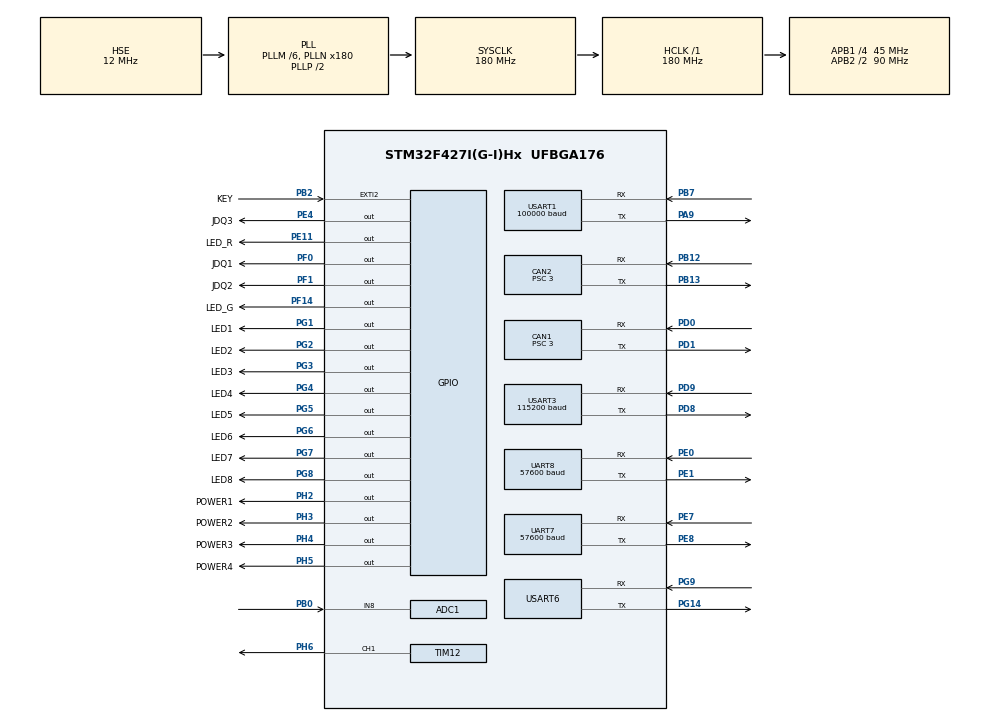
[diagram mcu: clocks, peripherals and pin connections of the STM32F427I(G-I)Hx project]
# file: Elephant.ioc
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ADC1.Channel-0\#ChannelRegularConversion=ADC_CHANNEL_8
ADC1.NbrOfConversionFlag=1
ADC1.Rank-0\#ChannelRegularConversion=1
ADC1.SamplingTime-0\#ChannelRegularConversion=ADC_SAMPLETIME_3CYCLES
ADC1.master=1
CAN1.BS1=CAN_BS1_11TQ
CAN1.BS2=CAN_BS2_3TQ
CAN1.CalculateBaudRate=1000000
CAN1.CalculateTimeBit=1000
CAN1.CalculateTimeQuantum=66.66666666666666
CAN1.NART=ENABLE
CAN1.Prescaler=3
CAN2.BS1=CAN_BS1_11TQ
CAN2.BS2=CAN_BS2_3TQ
CAN2.CalculateBaudRate=1000000
CAN2.CalculateTimeBit=1000
CAN2.CalculateTimeQuantum=66.66666666666666
CAN2.Prescaler=3
Dma.Request0=USART6_RX
Dma.Request1=USART1_RX
Dma.USART1_RX.1.Direction=DMA_PERIPH_TO_MEMORY
Dma.USART1_RX.1.FIFOMode=DMA_FIFOMODE_DISABLE
Dma.USART1_RX.1.Instance=DMA2_Stream2
Dma.USART1_RX.1.MemDataAlignment=DMA_MDATAALIGN_BYTE
Dma.USART1_RX.1.MemInc=DMA_MINC_ENABLE
Dma.USART1_RX.1.Mode=DMA_NORMAL
Dma.USART1_RX.1.PeriphDataAlignment=DMA_PDATAALIGN_BYTE
Dma.USART1_RX.1.PeriphInc=DMA_PINC_DISABLE
Dma.USART1_RX.1.Priority=DMA_PRIORITY_LOW
Dma.USART6_RX.0.Direction=DMA_PERIPH_TO_MEMORY
Dma.USART6_RX.0.FIFOMode=DMA_FIFOMODE_DISABLE
Dma.USART6_RX.0.Instance=DMA2_Stream1
Dma.USART6_RX.0.MemDataAlignment=DMA_MDATAALIGN_BYTE
Dma.USART6_RX.0.MemInc=DMA_MINC_ENABLE
Dma.USART6_RX.0.Mode=DMA_NORMAL
Dma.USART6_RX.0.PeriphDataAlignment=DMA_PDATAALIGN_BYTE
Dma.USART6_RX.0.PeriphInc=DMA_PINC_DISABLE
Dma.USART6_RX.0.Priority=DMA_PRIORITY_LOW
Mcu.Family=STM32F4
Mcu.Name=STM32F427I(G-I)Hx
Mcu.Package=UFBGA176
NVIC.CAN1_RX0_IRQn=true\:0\:0\:false\:false\:true\:true\:true\:true
NVIC.DMA2_Stream1_IRQn=true\:0\:0\:false\:false\:true\:false\:true\:true
NVIC.DMA2_Stream2_IRQn=true\:0\:0\:false\:false\:true\:false\:true\:true
NVIC.PriorityGroup=NVIC_PRIORITYGROUP_4
NVIC.TIM2_IRQn=true\:7\:0\:true\:false\:true\:true\:true\:true
NVIC.TIM3_IRQn=true\:8\:0\:true\:false\:true\:true\:true\:true
NVIC.TIM7_IRQn=true\:11\:0\:true\:false\:true\:true\:true\:true
NVIC.UART7_IRQn=true\:0\:0\:false\:false\:true\:true\:true\:true
NVIC.UART8_IRQn=true\:0\:0\:false\:false\:true\:true\:true\:true
NVIC.USART1_IRQn=true\:2\:0\:true\:false\:true\:true\:true\:true
NVIC.USART3_IRQn=true\:3\:0\:true\:false\:true\:true\:true\:true
NVIC.USART6_IRQn=true\:1\:0\:true\:false\:true\:true\:true\:true
PA13.Mode=Serial_Wire
PA13.Signal=SYS_JTMS-SWDIO
PA14.Mode=Serial_Wire
PA14.Signal=SYS_JTCK-SWCLK
PA9.Mode=Asynchronous
PA9.Signal=USART1_TX
PB0.Signal=ADCx_IN8
PB12.Mode=CAN_Activate
PB12.Signal=CAN2_RX
PB13.Mode=CAN_Activate
PB13.Signal=CAN2_TX
PB2/BOOT1.GPIO_Label=KEY
PB2/BOOT1.GPIO_ModeDefaultEXTI=GPIO_MODE_IT_FALLING
PB2/BOOT1.GPIO_PuPd=GPIO_PULLUP
PB2/BOOT1.Signal=GPXTI2
PB7.Mode=Asynchronous
PB7.Signal=USART1_RX
PD0.Mode=CAN_Activate
PD0.Signal=CAN1_RX
PD1.Mode=CAN_Activate
PD1.Signal=CAN1_TX
PD8.Mode=Asynchronous
PD8.Signal=USART3_TX
PD9.Mode=Asynchronous
PD9.Signal=USART3_RX
PE0.Mode=Asynchronous
PE0.Signal=UART8_RX
PE1.Mode=Asynchronous
PE1.Signal=UART8_TX
PE11.GPIO_Label=LED_R
PE11.GPIO_PuPd=GPIO_PULLUP
PE11.PinState=GPIO_PIN_SET
PE11.Signal=GPIO_Output
PE4.GPIO_Label=JDQ3
PE4.Signal=GPIO_Output
PE7.Mode=Asynchronous
PE7.Signal=UART7_RX
PE8.Mode=Asynchronous
PE8.Signal=UART7_TX
PF0.GPIO_Label=JDQ1
PF0.Signal=GPIO_Output
PF1.GPIO_Label=JDQ2
PF1.Signal=GPIO_Output
PF14.GPIO_Label=LED_G
PF14.GPIO_PuPd=GPIO_PULLUP
PF14.PinState=GPIO_PIN_SET
PF14.Signal=GPIO_Output
PG1.GPIO_Label=LED1
PG1.GPIO_PuPd=GPIO_PULLUP
PG1.PinState=GPIO_PIN_SET
PG1.Signal=GPIO_Output
PG14.Mode=Asynchronous
PG14.Signal=USART6_TX
PG2.GPIO_Label=LED2
PG2.GPIO_PuPd=GPIO_PULLUP
PG2.PinState=GPIO_PIN_SET
PG2.Signal=GPIO_Output
PG3.GPIO_Label=LED3
PG3.GPIO_PuPd=GPIO_PULLUP
PG3.PinState=GPIO_PIN_SET
PG3.Signal=GPIO_Output
PG4.GPIO_Label=LED4
PG4.GPIO_PuPd=GPIO_PULLUP
PG4.PinState=GPIO_PIN_SET
PG4.Signal=GPIO_Output
PG5.GPIO_Label=LED5
PG5.GPIO_PuPd=GPIO_PULLUP
PG5.PinState=GPIO_PIN_SET
PG5.Signal=GPIO_Output
PG6.GPIO_Label=LED6
PG6.GPIO_PuPd=GPIO_PULLUP
PG6.PinState=GPIO_PIN_SET
PG6.Signal=GPIO_Output
PG7.GPIO_Label=LED7
PG7.GPIO_PuPd=GPIO_PULLUP
PG7.PinState=GPIO_PIN_SET
PG7.Signal=GPIO_Output
PG8.GPIO_Label=LED8
PG8.GPIO_PuPd=GPIO_PULLUP
PG8.PinState=GPIO_PIN_SET
PG8.Signal=GPIO_Output
PG9.Mode=Asynchronous
PG9.Signal=USART6_RX
PH0/OSC_IN.Mode=HSE-External-Oscillator
PH0/OSC_IN.Signal=RCC_OSC_IN
PH1/OSC_OUT.Mode=HSE-External-Oscillator
PH1/OSC_OUT.Signal=RCC_OSC_OUT
PH2.GPIO_Label=POWER1
PH2.GPIO_PuPd=GPIO_PULLUP
PH2.Signal=GPIO_Output
PH3.GPIO_Label=POWER2
PH3.GPIO_PuPd=GPIO_PULLUP
PH3.Signal=GPIO_Output
PH4.GPIO_Label=POWER3
PH4.GPIO_PuPd=GPIO_PULLUP
PH4.Signal=GPIO_Output
PH5.GPIO_Label=POWER4
PH5.GPIO_PuPd=GPIO_PULLUP
PH5.Signal=GPIO_Output
PH6.Signal=S_TIM12_CH1
ProjectManager.HeapSize=0x200
ProjectManager.StackSize=0x400
ProjectManager.TargetToolchain=Makefile
RCC.48MHZClocksFreq_Value=90000000
RCC.AHBFreq_Value=180000000
RCC.APB1CLKDivider=RCC_HCLK_DIV4
RCC.APB1Freq_Value=45000000
RCC.APB1TimFreq_Value=90000000
RCC.APB2CLKDivider=RCC_HCLK_DIV2
RCC.APB2Freq_Value=90000000
RCC.APB2TimFreq_Value=180000000
RCC.CortexFreq_Value=180000000
RCC.HCLKFreq_Value=180000000
RCC.HSE_VALUE=12000000
RCC.HSI_VALUE=16000000
RCC.LSE_VALUE=32768
RCC.PLLM=6
RCC.PLLN=180
RCC.PLLSourceVirtual=RCC_PLLSOURCE_HSE
RCC.SYSCLKFreq_VALUE=180000000
RCC.SYSCLKSource=RCC_SYSCLKSOURCE_PLLCLK
RCC.VCOOutputFreq_Value=360000000
SH.ADCx_IN8.0=ADC1_IN8,IN8
SH.S_TIM12_CH1.0=TIM12_CH1,PWM Generation1 CH1
TIM12.Channel-PWM\ Generation1\ CH1=TIM_CHANNEL_1
TIM12.Period=99
TIM12.Prescaler=45
TIM2.Period=49999
TIM2.Prescaler=899
TIM3.Period=999
TIM3.Prescaler=89
TIM7.Period=999
TIM7.Prescaler=89
UART7.BaudRate=57600
UART7.VirtualMode=Asynchronous
UART8.BaudRate=57600
UART8.VirtualMode=Asynchronous
USART1.BaudRate=100000
USART1.VirtualMode=VM_ASYNC
USART1.WordLength=WORDLENGTH_9B
USART3.BaudRate=115200
USART3.VirtualMode=VM_ASYNC
USART6.VirtualMode=VM_ASYNC
VP_TIM2_VS_ClockSourceINT.Mode=Internal
VP_TIM3_VS_ClockSourceINT.Mode=Internal
VP_TIM7_VS_ClockSourceINT.Mode=Enable_Timer
board=custom

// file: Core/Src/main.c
/* USER CODE BEGIN Header */
/**
 ******************************************************************************
 * @file           : main.c
 * @brief          : Main program body
 ******************************************************************************
 * @attention
 *
 * Copyright (c) 2023 STMicroelectronics.
 * All rights reserved.
 *
 * This software is licensed under terms that can be found in the LICENSE file
 * in the root directory of this software component.
 * If no LICENSE file comes with this software, it is provided AS-IS.
 *
 ******************************************************************************
 */
/* USER CODE END Header */
#include "main.h"
#include "adc.h"
#include "can.h"
#include "dma.h"
#include "tim.h"
#include "usart.h"
#include "gpio.h"

/* USER CODE BEGIN Includes */

#include "BSP.h"
#include "Elephant.h"
#include "DJ_Driver.h"
#include "string.h"
#include "LDS30B.h"
#include "Chassis.h"
/* USER CODE END Includes */

/* USER CODE BEGIN PM */
void LED(void)
{
  HAL_GPIO_WritePin(GPIOG, GPIO_PIN_1, RESET);
  HAL_GPIO_WritePin(GPIOG, GPIO_PIN_2, RESET);
  HAL_GPIO_WritePin(GPIOG, GPIO_PIN_3, RESET);
  HAL_GPIO_WritePin(GPIOG, GPIO_PIN_4, RESET);
  HAL_GPIO_WritePin(GPIOG, GPIO_PIN_5, RESET);
  HAL_GPIO_WritePin(GPIOG, GPIO_PIN_6, RESET);
  HAL_GPIO_WritePin(GPIOG, GPIO_PIN_7, RESET);
  HAL_GPIO_WritePin(GPIOG, GPIO_PIN_8, RESET);
}
/* USER CODE END PM */

void SystemClock_Config(void);

int main(void)
{

  /* MCU Configuration--------------------------------------------------------*/

  /* Reset of all peripherals, Initializes the Flash interface and the Systick. */
  HAL_Init();

  /* Configure the system clock */
  SystemClock_Config();

  /* Initialize all configured peripherals */
  MX_GPIO_Init();
  MX_DMA_Init();
  MX_CAN1_Init();
  MX_CAN2_Init();
  MX_TIM7_Init();
  MX_TIM12_Init();
  MX_USART6_UART_Init();
  MX_ADC1_Init();
  MX_USART3_UART_Init();
  MX_USART1_UART_Init();
  MX_TIM2_Init();
  MX_TIM3_Init();
  MX_UART7_Init();
  MX_UART8_Init();
  /* USER CODE BEGIN 2 */
  // HAL_UART_Receive_IT(&huart7, ucRxBuffer, sizeof(ucRxBuffer));

  Elephant_Init();

  /* USER CODE END 2 */

  /* Infinite loop */
  /* USER CODE BEGIN WHILE */
  while (1)
  {
    // Dist = LDS30B_Analysis(Data);

    // HAL_UART_Transmit_IT(&huart7, ucRxBuffer, sizeof(ucRxBuffer));
    // UART_Print("LDS30B:%.3f\n", Distance);
    Elephant_Run();

    // DJ_MotorRun();
    // UART_Print("%d  %d\n", lds1.distance, lds2.distance);
    if (chassis.lds_y != 0 && lds2.distance != 0)
    {
      LED();
    }
    HAL_Delay(2);
    /* USER CODE END WHILE */

  }
}

void SystemClock_Config(void)
{
  RCC_OscInitTypeDef RCC_OscInitStruct = {0};
  RCC_ClkInitTypeDef RCC_ClkInitStruct = {0};

  /** Configure the main internal regulator output voltage
  */
  __HAL_RCC_PWR_CLK_ENABLE();
  __HAL_PWR_VOLTAGESCALING_CONFIG(PWR_REGULATOR_VOLTAGE_SCALE1);

  /** Initializes the RCC Oscillators according to the specified parameters
  * in the RCC_OscInitTypeDef structure.
  */
  RCC_OscInitStruct.OscillatorType = RCC_OSCILLATORTYPE_HSE;
  RCC_OscInitStruct.HSEState = RCC_HSE_ON;
  RCC_OscInitStruct.PLL.PLLState = RCC_PLL_ON;
  RCC_OscInitStruct.PLL.PLLSource = RCC_PLLSOURCE_HSE;
  RCC_OscInitStruct.PLL.PLLM = 6;
  RCC_OscInitStruct.PLL.PLLN = 180;
  RCC_OscInitStruct.PLL.PLLP = RCC_PLLP_DIV2;
  RCC_OscInitStruct.PLL.PLLQ = 4;
  if (HAL_RCC_OscConfig(&RCC_OscInitStruct) != HAL_OK)
  {
    Error_Handler();
  }

  /** Activate the Over-Drive mode
  */
  if (HAL_PWREx_EnableOverDrive() != HAL_OK)
  {
    Error_Handler();
  }

  /** Initializes the CPU, AHB and APB buses clocks
  */
  RCC_ClkInitStruct.ClockType = RCC_CLOCKTYPE_HCLK|RCC_CLOCKTYPE_SYSCLK
                              |RCC_CLOCKTYPE_PCLK1|RCC_CLOCKTYPE_PCLK2;
  RCC_ClkInitStruct.SYSCLKSource = RCC_SYSCLKSOURCE_PLLCLK;
  RCC_ClkInitStruct.AHBCLKDivider = RCC_SYSCLK_DIV1;
  RCC_ClkInitStruct.APB1CLKDivider = RCC_HCLK_DIV4;
  RCC_ClkInitStruct.APB2CLKDivider = RCC_HCLK_DIV2;

  if (HAL_RCC_ClockConfig(&RCC_ClkInitStruct, FLASH_LATENCY_5) != HAL_OK)
  {
    Error_Handler();
  }
}

void Error_Handler(void)
{
  __disable_irq();
  while (1)
  {
  }
}

#ifdef  USE_FULL_ASSERT
/**
  * @brief  Reports the name of the source file and the source line number
  *         where the assert_param error has occurred.
  * @param  file: pointer to the source file name
  * @param  line: assert_param error line source number
  * @retval None
  */
void assert_failed(uint8_t *file, uint32_t line)
{
  /* USER CODE BEGIN 6 */
  // UART_Print("file %s on line %d\r\n", file, line);
  /* USER CODE END 6 */
}
#endif /* USE_FULL_ASSERT */
